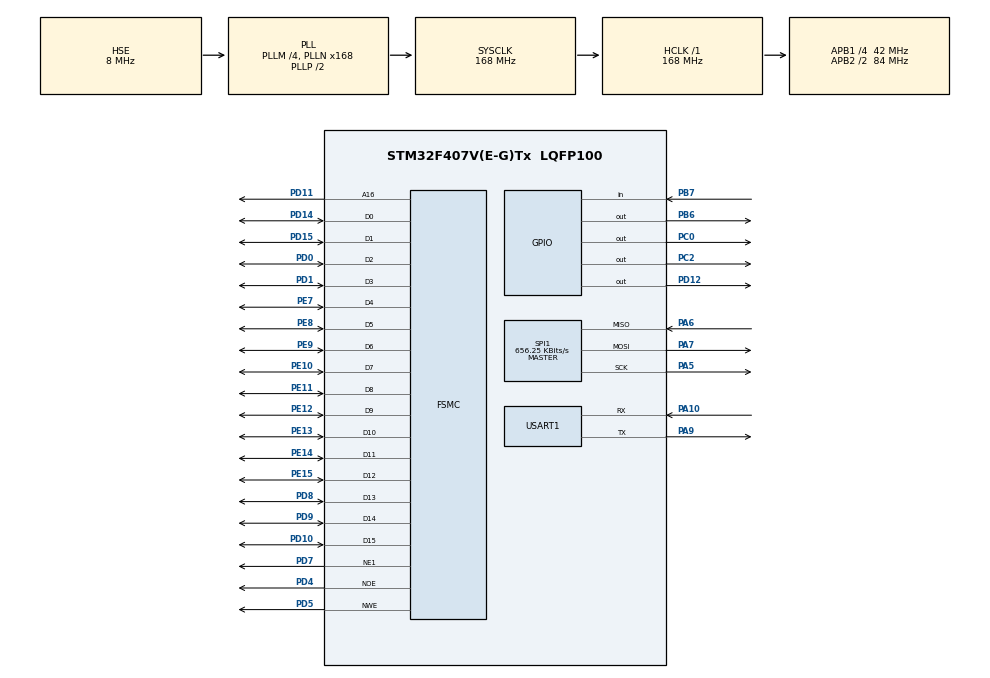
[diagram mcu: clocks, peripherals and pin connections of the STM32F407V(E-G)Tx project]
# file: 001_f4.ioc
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FSMC.BusTurnAroundDuration1=15
FSMC.DataSetupTime1=80
FSMC.ExtendedBusTurnAroundDuration1=15
FSMC.ExtendedDataSetupTime1=15
FSMC.ExtendedMode1=FSMC_EXTENDED_MODE_ENABLE
Mcu.Family=STM32F4
Mcu.Name=STM32F407V(E-G)Tx
Mcu.Package=LQFP100
NVIC.PriorityGroup=NVIC_PRIORITYGROUP_4
NVIC.USART1_IRQn=true\:0\:0\:false\:false\:true\:true\:true
PA10.Mode=Asynchronous
PA10.Signal=USART1_RX
PA5.Mode=Full_Duplex_Master
PA5.Signal=SPI1_SCK
PA6.Mode=Full_Duplex_Master
PA6.Signal=SPI1_MISO
PA7.Mode=Full_Duplex_Master
PA7.Signal=SPI1_MOSI
PA9.Mode=Asynchronous
PA9.Signal=USART1_TX
PB6.PinState=GPIO_PIN_SET
PB6.Signal=GPIO_Output
PB7.GPIO_PuPd=GPIO_NOPULL
PB7.Signal=GPIO_Input
PC0.Signal=GPIO_Output
PC14-OSC32_IN.Mode=LSE-External-Oscillator
PC14-OSC32_IN.Signal=RCC_OSC32_IN
PC15-OSC32_OUT.Mode=LSE-External-Oscillator
PC15-OSC32_OUT.Signal=RCC_OSC32_OUT
PC2.Signal=GPIO_Output
PD0.Mode=16b-d1
PD0.Signal=FSMC_D2
PD1.Mode=16b-d1
PD1.Signal=FSMC_D3
PD10.Mode=16b-d1
PD10.Signal=FSMC_D15
PD11.Mode=A16_1
PD11.Signal=FSMC_A16
PD12.Signal=GPIO_Output
PD14.Mode=16b-d1
PD14.Signal=FSMC_D0
PD15.Mode=16b-d1
PD15.Signal=FSMC_D1
PD4.Mode=Lcd1
PD4.Signal=FSMC_NOE
PD5.Mode=Lcd1
PD5.Signal=FSMC_NWE
PD7.Mode=NorPsramChipSelect1_1
PD7.Signal=FSMC_NE1
PD8.Mode=16b-d1
PD8.Signal=FSMC_D13
PD9.Mode=16b-d1
PD9.Signal=FSMC_D14
PE10.Mode=16b-d1
PE10.Signal=FSMC_D7
PE11.Mode=16b-d1
PE11.Signal=FSMC_D8
PE12.Mode=16b-d1
PE12.Signal=FSMC_D9
PE13.Mode=16b-d1
PE13.Signal=FSMC_D10
PE14.Mode=16b-d1
PE14.Signal=FSMC_D11
PE15.Mode=16b-d1
PE15.Signal=FSMC_D12
PE7.Mode=16b-d1
PE7.Signal=FSMC_D4
PE8.Mode=16b-d1
PE8.Signal=FSMC_D5
PE9.Mode=16b-d1
PE9.Signal=FSMC_D6
PH0-OSC_IN.Mode=HSE-External-Oscillator
PH0-OSC_IN.Signal=RCC_OSC_IN
PH1-OSC_OUT.Mode=HSE-External-Oscillator
PH1-OSC_OUT.Signal=RCC_OSC_OUT
ProjectManager.HeapSize=0x200
ProjectManager.StackSize=0x400
ProjectManager.TargetToolchain=MDK-ARM V5.27
RCC.48MHZClocksFreq_Value=84000000
RCC.AHBFreq_Value=168000000
RCC.APB1CLKDivider=RCC_HCLK_DIV4
RCC.APB1Freq_Value=42000000
RCC.APB1TimFreq_Value=84000000
RCC.APB2CLKDivider=RCC_HCLK_DIV2
RCC.APB2Freq_Value=84000000
RCC.APB2TimFreq_Value=168000000
RCC.CortexFreq_Value=168000000
RCC.HCLKFreq_Value=168000000
RCC.HSE_VALUE=8000000
RCC.HSI_VALUE=16000000
RCC.PLLM=4
RCC.PLLN=168
RCC.PLLSourceVirtual=RCC_PLLSOURCE_HSE
RCC.SYSCLKFreq_VALUE=168000000
RCC.SYSCLKSource=RCC_SYSCLKSOURCE_PLLCLK
RCC.VCOOutputFreq_Value=336000000
SPI1.BaudRatePrescaler=SPI_BAUDRATEPRESCALER_128
SPI1.CalculateBaudRate=656.25 KBits/s
SPI1.Direction=SPI_DIRECTION_2LINES
SPI1.Mode=SPI_MODE_MASTER
SPI1.VirtualType=VM_MASTER
TIM14.Period=65535
TIM14.Prescaler=83
USART1.VirtualMode=VM_ASYNC
VP_CRC_VS_CRC.Mode=CRC_Activate
VP_TIM14_VS_ClockSourceINT.Mode=Enable_Timer
board=custom

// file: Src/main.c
/* USER CODE BEGIN Header */
/**
  ******************************************************************************
  * @file           : main.c
  * @brief          : Main program body
  ******************************************************************************
  * @attention
  *
  * <h2><center>&copy; Copyright (c) 2020 STMicroelectronics.
  * All rights reserved.</center></h2>
  *
  * This software component is licensed by ST under BSD 3-Clause license,
  * the "License"; You may not use this file except in compliance with the
  * License. You may obtain a copy of the License at:
  *                        opensource.org/licenses/BSD-3-Clause
  *
  ******************************************************************************
  */
/* USER CODE END Header */
#include "main.h"
#include "crc.h"
#include "spi.h"
#include "tim.h"
#include "usart.h"
#include "gpio.h"
#include "fsmc.h"

/* USER CODE BEGIN Includes */
#include "ili9488.h"
#include "xpt2046.h"
#include "photo.h"
#include "ov2640.h"
/* USER CODE END Includes */

void SystemClock_Config(void);
/* USER CODE BEGIN PFP */
//----OV2640速度控制
//----根据LCD分辨率的不同，设置不同的参数
void ov2640_speed_ctrl(void)
{
	uint8_t clkdiv,pclkdiv;			//时钟分频系数和PCLK分频系数
		clkdiv=2;
		pclkdiv=8;
	SCCB_WR_Reg(0XFF,0X00);
	SCCB_WR_Reg(0XD3,pclkdiv);	//设置PCLK分频
	SCCB_WR_Reg(0XFF,0X01);
	SCCB_WR_Reg(0X11,clkdiv);	//设置CLK分频
}
/* USER CODE END PFP */

int main(void)
{
  /* USER CODE BEGIN 1 */
	uint16_t i=0,exc=0,err=0;
  /* USER CODE END 1 */

  /* MCU Configuration--------------------------------------------------------*/

  /* Reset of all peripherals, Initializes the Flash interface and the Systick. */
  HAL_Init();

  /* Configure the system clock */
  SystemClock_Config();

  /* Initialize all configured peripherals */
  MX_GPIO_Init();
  MX_CRC_Init();
  MX_FSMC_Init();
  MX_USART1_UART_Init();
  MX_SPI1_Init();
  MX_TIM14_Init();
  /* USER CODE BEGIN 2 */
	LCD_Init();
	HAL_Delay(2);
	err=OV2640_Init();
	if(err!=0)
	{
		printf("ov2640初始化失败 %d\n",err);
		while(1);
	}
	OV2640_RGB565_Mode();
	err=OV2640_OutSize_Set(320,480);
	if(err!=0)
	{
		printf("ov2640尺寸设置失败 %d\n",err);
		while(1);
	}
	ov2640_speed_ctrl();

  /* USER CODE END 2 */

  /* Infinite loop */
  /* USER CODE BEGIN WHILE */
//	show_photo(0,0,320,480,photo);
//	show_photo(300,100,50,50,BULE);
//	show_photo(100,200,50,50,RED);
//	show_photo(100,300,50,50,GREEN);
  while (1)
  {
		while(OV2640_VSYNC==1)	//开始采集数据
		{
			while(OV2640_HREF)
			{
				while(OV2640_PCLK==0);
				exc = (uint16_t)OV2640_DATA;
				while(OV2640_PCLK==1);
				while(OV2640_PCLK==0);
				*(__IO uint16_t*) FSMC_DATA = (uint16_t)(((uint16_t)OV2640_DATA<<8)|exc);
				while(OV2640_PCLK==1);
			}
		}
		//printf("\n");
    /* USER CODE END WHILE */

  }
}

void SystemClock_Config(void)
{
  RCC_OscInitTypeDef RCC_OscInitStruct = {0};
  RCC_ClkInitTypeDef RCC_ClkInitStruct = {0};

  /** Configure the main internal regulator output voltage
  */
  __HAL_RCC_PWR_CLK_ENABLE();
  __HAL_PWR_VOLTAGESCALING_CONFIG(PWR_REGULATOR_VOLTAGE_SCALE1);
  /** Initializes the RCC Oscillators according to the specified parameters
  * in the RCC_OscInitTypeDef structure.
  */
  RCC_OscInitStruct.OscillatorType = RCC_OSCILLATORTYPE_HSE;
  RCC_OscInitStruct.HSEState = RCC_HSE_ON;
  RCC_OscInitStruct.PLL.PLLState = RCC_PLL_ON;
  RCC_OscInitStruct.PLL.PLLSource = RCC_PLLSOURCE_HSE;
  RCC_OscInitStruct.PLL.PLLM = 4;
  RCC_OscInitStruct.PLL.PLLN = 168;
  RCC_OscInitStruct.PLL.PLLP = RCC_PLLP_DIV2;
  RCC_OscInitStruct.PLL.PLLQ = 4;
  if (HAL_RCC_OscConfig(&RCC_OscInitStruct) != HAL_OK)
  {
    Error_Handler();
  }
  /** Initializes the CPU, AHB and APB buses clocks
  */
  RCC_ClkInitStruct.ClockType = RCC_CLOCKTYPE_HCLK|RCC_CLOCKTYPE_SYSCLK
                              |RCC_CLOCKTYPE_PCLK1|RCC_CLOCKTYPE_PCLK2;
  RCC_ClkInitStruct.SYSCLKSource = RCC_SYSCLKSOURCE_PLLCLK;
  RCC_ClkInitStruct.AHBCLKDivider = RCC_SYSCLK_DIV1;
  RCC_ClkInitStruct.APB1CLKDivider = RCC_HCLK_DIV4;
  RCC_ClkInitStruct.APB2CLKDivider = RCC_HCLK_DIV2;

  if (HAL_RCC_ClockConfig(&RCC_ClkInitStruct, FLASH_LATENCY_5) != HAL_OK)
  {
    Error_Handler();
  }
}

void Error_Handler(void)
{
}

/************************ (C) COPYRIGHT STMicroelectronics *****END OF FILE****/
